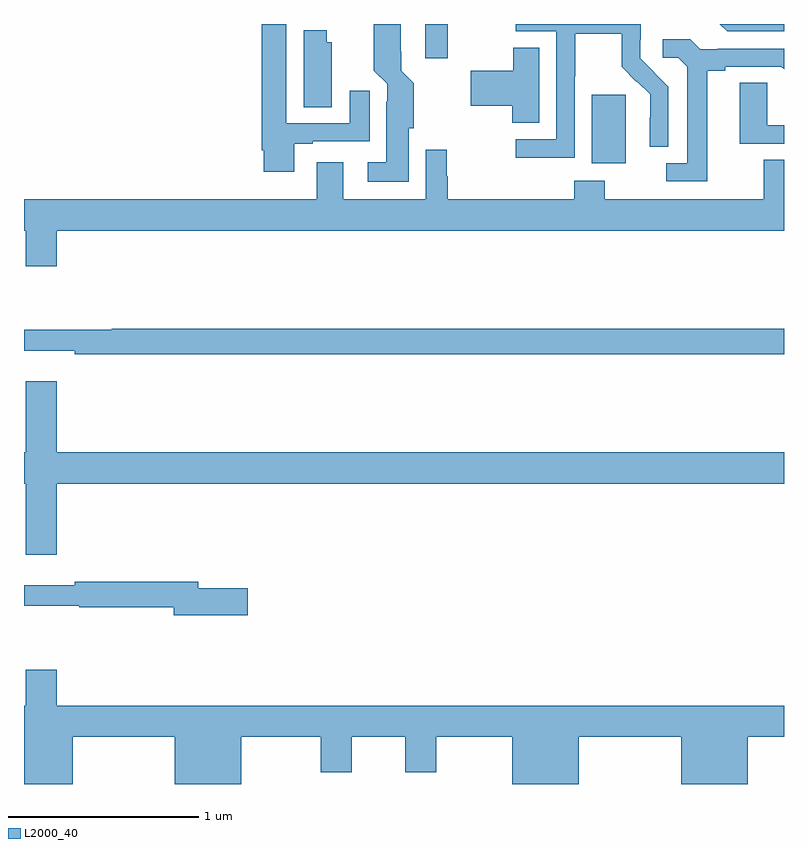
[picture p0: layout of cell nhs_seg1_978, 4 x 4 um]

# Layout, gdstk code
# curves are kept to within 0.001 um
import gdstk
lib = gdstk.Library(unit=1e-6, precision=1e-09)
def R(c, l, rs):  # rectangles x0, y0, x1, y1
    for r in rs: c.add(gdstk.rectangle(r[:2], r[2:], *l))
def P(c, l, *ps):  # polygons
    for p in ps: c.add(gdstk.Polygon(p, *l))
L2000_40 = (2000, 40)

nhs_seg1_978 = lib.new_cell('nhs_seg1_978')
R(nhs_seg1_978, L2000_40, [(167.987,505.466,168.166,505.827), (167.111,506.019,167.229,506.199)])
P(nhs_seg1_978, L2000_40, [(166.423,505.569),(166.519,505.569),(166.519,505.581),(166.819,505.581),(166.819,505.849),(166.715,505.849),(166.715,505.677),(166.381,505.677),(166.381,506.199),(166.25,506.199),(166.25,505.534),(166.262,505.534),(166.262,505.422),(166.423,505.422)],
  [(169,506.199),(168.663,506.199),(168.702,506.16),(169,506.16)],
  [(167.898,505.924),(167.901,505.924),(167.901,506.148),(168.145,506.148),(168.145,505.973),(168.222,505.896),(168.225,505.899),(168.296,505.829),(168.296,505.706),(168.294,505.706),(168.294,505.552),(168.39,505.552),(168.39,505.87),(168.244,506.018),(168.244,506.115),(168.246,506.115),(168.246,506.199),(167.589,506.199),(167.589,506.16),(167.802,506.16),(167.802,505.593),(167.589,505.593),(167.589,505.495),(167.898,505.495)],
  [(167.026,505.65),(167.052,505.65),(167.052,505.887),(166.985,505.954),(166.984,506.199),(166.842,506.199),(166.841,505.954),(166.911,505.884),(166.911,505.79),(166.907,505.79),(166.907,505.471),(166.809,505.471),(166.809,505.37),(167.026,505.37)],
  [(166.621,506.103),(166.594,506.103),(166.594,506.167),(166.472,506.167),(166.472,505.762),(166.621,505.762)],
  [(168.595,505.952),(168.691,505.952),(168.691,505.974),(168.986,505.974),(169,505.96),(169,506.07),(168.652,506.07),(168.652,506.067),(168.558,506.067),(168.506,506.119),(168.363,506.119),(168.363,506.022),(168.444,506.022),(168.491,505.975),(168.491,505.467),(168.381,505.467),(168.381,505.371),(168.595,505.371)],
  [(167.713,506.075),(167.575,506.075),(167.575,505.952),(167.352,505.952),(167.352,505.769),(167.57,505.769),(167.57,505.678),(167.713,505.678)],
  [(169,505.665),(168.912,505.665),(168.912,505.889),(168.767,505.889),(168.767,505.569),(169,505.569)],
  [(165.172,505.112),(169,505.112),(169,505.484),(168.893,505.484),(168.893,505.276),(168.057,505.276),(168.057,505.375),(167.897,505.375),(167.897,505.276),(167.231,505.276),(167.231,505.398),(167.224,505.398),(167.224,505.537),(167.115,505.537),(167.115,505.276),(166.681,505.276),(166.681,505.471),(166.541,505.471),(166.541,505.276),(165,505.276),(165,505.112),(165.008,505.112),(165.008,504.924),(165.172,504.924)],
  [(169,504.596),(165.461,504.596),(165.461,504.589),(165,504.589),(165,504.479),(165.268,504.479),(165.268,504.46),(169,504.46)],
  [(165.172,503.78),(169,503.78),(169,503.944),(165.172,503.944),(165.172,504.319),(165.008,504.319),(165.008,503.944),(165,503.944),(165,503.78),(165.008,503.78),(165.008,503.406),(165.172,503.406)],
  [(166.177,503.228),(165.916,503.228),(165.916,503.264),(165.268,503.264),(165.268,503.245),(165,503.245),(165,503.136),(165.292,503.136),(165.292,503.128),(165.788,503.128),(165.788,503.086),(166.177,503.086)],
  [(165.256,502.448),(165.794,502.448),(165.794,502.199),(166.144,502.199),(166.144,502.448),(166.562,502.448),(166.562,502.26),(166.726,502.26),(166.726,502.448),(167.006,502.448),(167.006,502.26),(167.17,502.26),(167.17,502.448),(167.57,502.448),(167.57,502.199),(167.92,502.199),(167.92,502.448),(168.458,502.448),(168.458,502.199),(168.808,502.199),(168.808,502.448),(169,502.448),(169,502.612),(165.172,502.612),(165.172,502.801),(165.008,502.801),(165.008,502.612),(165,502.612),(165,502.199),(165.256,502.199)])

lib.write_gds('nhs_seg1_978.gds')
